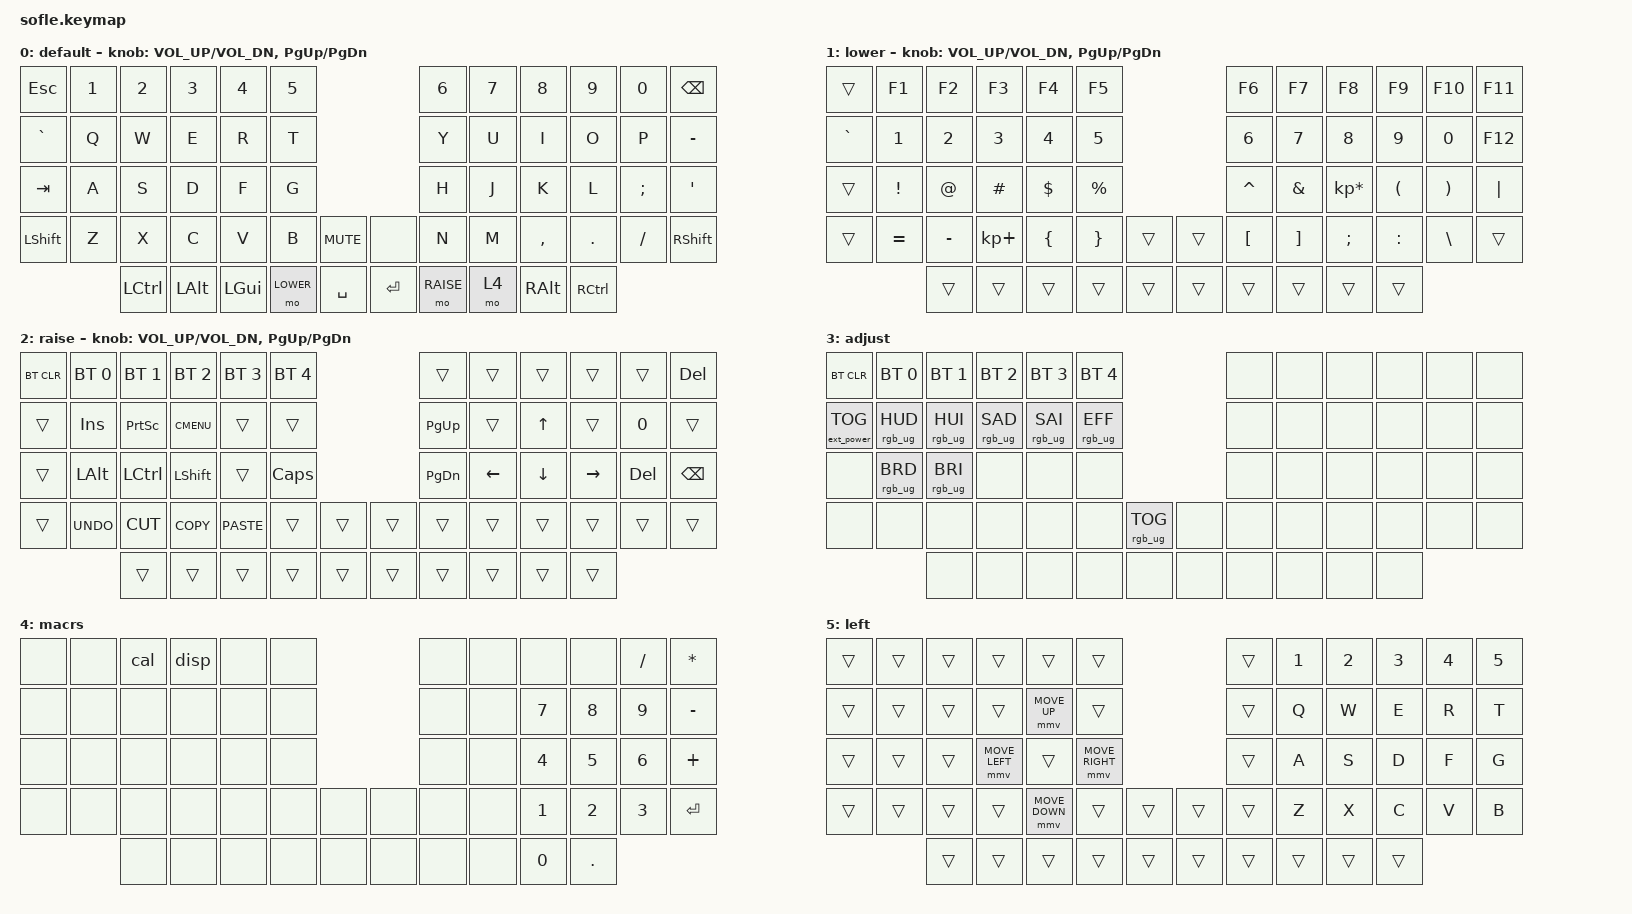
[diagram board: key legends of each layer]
/*
 * Copyright (c) 2020 The ZMK Contributors
 *
 * SPDX-License-Identifier: MIT
 */

#include <behaviors.dtsi>
#include <dt-bindings/zmk/bt.h>
#include <dt-bindings/zmk/ext_power.h>
#include <dt-bindings/zmk/keys.h>
#include <dt-bindings/zmk/pointing.h>
#include <dt-bindings/zmk/pointing.h>
#include <dt-bindings/zmk/rgb.h>

#define BASE 0
#define LOWER 1
#define RAISE 2
#define ADJUST 3

/ {
    // Activate ADJUST layer by pressing raise and lower

    conditional_layers {
        compatible = "zmk,conditional-layers";

        adjust_layer {
            if-layers = <LOWER RAISE>;
            then-layer = <ADJUST>;
        };

        left {
            if-layers = <2 4>;
            then-layer = <5>;
        };
    };

    macros {
        disp: disp {
            compatible = "zmk,behavior-macro";
            #binding-cells = <0>;
            bindings =
                <&macro_press>,
                <&kp RCTRL &kp LEFT_SHIFT &kp ESC>,
                <&macro_release>;

            label = "DISP";
        };

        cal: new_macro {
            compatible = "zmk,behavior-macro";
            #binding-cells = <0>;
            bindings =
                <&macro_press>,
                <&kp LCTRL &kp LEFT_ALT &kp DELETE>,
                <&macro_release>;

            label = "NEW_MACRO";
        };

        sob: sob {
            compatible = "zmk,behavior-macro";
            #binding-cells = <0>;
            bindings = <&kp C &kp V &kp J &kp N &kp H &kp T &kp N &kp M &kp SPACE &kp J &kp Y &kp K &kp F &kp Q &kp Y &kp SPACE &kp COMMA &kp T &kp C &kp G &kp K &kp F &kp N &kp Y &kp J>;
            label = "SOB";
        };
    };

    combos {
        compatible = "zmk,combos";

        play_pause {
            bindings = <&kp C_PLAY_PAUSE>;
            key-positions = <10 11>;
        };

        next {
            bindings = <&kp C_NEXT>;
            key-positions = <22 23>;
        };

        prev {
            bindings = <&kp C_PREV>;
            key-positions = <34 35>;
        };

        minus {
            bindings = <&kp MINUS>;
            key-positions = <8 9>;
        };

        eq {
            bindings = <&kp EQUAL>;
            key-positions = <9 10>;
        };

        bslash {
            bindings = <&kp BSLH>;
            key-positions = <11 23>;
            layers = <0>;
        };

        prob {
            bindings = <&kp SPACE>;
            key-positions = <55 56>;
        };

        paste {
            bindings = <&kp LC(V)>;
            key-positions = <39 40>;
        };

        copy {
            bindings = <&kp LC(C)>;
            key-positions = <39 38>;
        };

        cut {
            bindings = <&kp LC(X)>;
            key-positions = <38 37>;
        };

        up {
            bindings = <&kp UP>;
            key-positions = <19 31>;
        };

        doun {
            bindings = <&kp DOWN>;
            key-positions = <31 45>;
        };

        left {
            bindings = <&kp LEFT>;
            key-positions = <31 30>;
        };

        right {
            bindings = <&kp RIGHT>;
            key-positions = <32 31>;
        };

        sob {
            bindings = <&sob>;
            key-positions = <0 1>;
        };

        close {
            bindings = <&kp LA(F4)>;
            key-positions = <4 16>;
        };

        enter {
            bindings = <&kp ENTER>;
            key-positions = <49 35>;
        };

        lkm {
            bindings = <&mkp LCLK>;
            key-positions = <18 19>;
        };

        rkm {
            bindings = <&mkp RCLK>;
            key-positions = <19 20>;
        };
    };

    keymap {
        compatible = "zmk,keymap";

        default_layer {
            display-name = "default";

            // ------------------------------------------------------------------------------------------------------------

            bindings = <
&kp ESC    &kp N1  &kp N2     &kp N3    &kp N4        &kp N5                            &kp N6     &kp N7  &kp N8         &kp N9     &kp N0    &kp BACKSPACE
&kp GRAVE  &kp Q   &kp W      &kp E     &kp R         &kp T                             &kp Y      &kp U   &kp I          &kp O      &kp P     &kp MINUS
&kp TAB    &kp A   &kp S      &kp D     &kp F         &kp G                             &kp H      &kp J   &kp K          &kp L      &kp SEMI  &kp SQT
&kp LSHFT  &kp Z   &kp X      &kp C     &kp V         &kp B      &kp C_MUTE    &none    &kp N      &kp M   &kp COMMA      &kp DOT    &kp FSLH  &kp RSHFT
                   &kp LCTRL  &kp LALT  &kp LEFT_GUI  &mo LOWER  &kp SPACE     &kp RET  &mo RAISE  &mo 4   &kp RIGHT_ALT  &kp RCTRL
            >;

            sensor-bindings = <&inc_dec_kp C_VOL_UP C_VOL_DN &inc_dec_kp PG_UP PG_DN>;
        };

        lower_layer {
            display-name = "lower";

            // TODO: Some binds are waiting for shifted keycode support.
            // ------------------------------------------------------------------------------------------------------------

            bindings = <
&trans     &kp F1     &kp F2     &kp F3       &kp F4    &kp F5                       &kp F6     &kp F7    &kp F8           &kp F9     &kp F10   &kp F11
&kp GRAVE  &kp N1     &kp N2     &kp N3       &kp N4    &kp N5                       &kp N6     &kp N7    &kp N8           &kp N9     &kp N0    &kp F12
&trans     &kp EXCL   &kp AT     &kp HASH     &kp DLLR  &kp PRCNT                    &kp CARET  &kp AMPS  &kp KP_MULTIPLY  &kp LPAR   &kp RPAR  &kp PIPE
&trans     &kp EQUAL  &kp MINUS  &kp KP_PLUS  &kp LBRC  &kp RBRC   &trans    &trans  &kp LBKT   &kp RBKT  &kp SEMI         &kp COLON  &kp BSLH  &trans
                      &trans     &trans       &trans    &trans     &trans    &trans  &trans     &trans    &trans           &trans
            >;

            sensor-bindings = <&inc_dec_kp C_VOL_UP C_VOL_DN &inc_dec_kp PG_UP PG_DN>;
        };

        raise_layer {
            display-name = "raise";

            // ------------------------------------------------------------------------------------------------------------

            bindings = <
&bt BT_CLR  &bt BT_SEL 0  &bt BT_SEL 1  &bt BT_SEL 2  &bt BT_SEL 3  &bt BT_SEL 4                    &trans     &trans    &trans    &trans     &trans   &kp DEL
&trans      &kp INS       &kp PSCRN     &kp K_CMENU   &trans        &trans                          &kp PG_UP  &trans    &kp UP    &trans     &kp N0   &trans
&trans      &kp LALT      &kp LCTRL     &kp LSHFT     &trans        &kp CLCK                        &kp PG_DN  &kp LEFT  &kp DOWN  &kp RIGHT  &kp DEL  &kp BSPC
&trans      &kp K_UNDO    &kp K_CUT     &kp K_COPY    &kp K_PASTE   &trans        &trans    &trans  &trans     &trans    &trans    &trans     &trans   &trans
                          &trans        &trans        &trans        &trans        &trans    &trans  &trans     &trans    &trans    &trans
            >;

            sensor-bindings = <&inc_dec_kp C_VOL_UP C_VOL_DN &inc_dec_kp PG_UP PG_DN>;
        };

        adjust_layer {
            display-name = "adjust";

            // ----------------------------------------------------------------------------------------------------------------------------

            bindings = <
&bt BT_CLR         &bt BT_SEL 0     &bt BT_SEL 1     &bt BT_SEL 2     &bt BT_SEL 3     &bt BT_SEL 4                               &none  &none  &none  &none  &none  &none
&ext_power EP_TOG  &rgb_ug RGB_HUD  &rgb_ug RGB_HUI  &rgb_ug RGB_SAD  &rgb_ug RGB_SAI  &rgb_ug RGB_EFF                            &none  &none  &none  &none  &none  &none
&none              &rgb_ug RGB_BRD  &rgb_ug RGB_BRI  &none            &none            &none                                      &none  &none  &none  &none  &none  &none
&none              &none            &none            &none            &none            &none            &rgb_ug RGB_TOG    &none  &none  &none  &none  &none  &none  &none
                                    &none            &none            &none            &none            &none              &none  &none  &none  &none  &none
            >;
        };

        macr_layer {
            bindings = <
&none  &none  &cal   &disp  &none  &none                  &none  &none  &none   &none    &kp FSLH  &kp STAR
&none  &none  &none  &none  &none  &none                  &none  &none  &kp N7  &kp N8   &kp N9    &kp MINUS
&none  &none  &none  &none  &none  &none                  &none  &none  &kp N4  &kp N5   &kp N6    &kp PLUS
&none  &none  &none  &none  &none  &none  &none    &none  &none  &none  &kp N1  &kp N2   &kp N3    &kp RET
              &none  &none  &none  &none  &none    &none  &none  &none  &kp N0  &kp DOT
            >;

            label = "macrs";
        };

        left {
            bindings = <
&trans  &trans  &trans  &trans          &trans          &trans                             &trans  &kp N1  &kp N2  &kp N3  &kp N4  &kp N5
&trans  &trans  &trans  &trans          &mmv MOVE_UP    &trans                             &trans  &kp Q   &kp W   &kp E   &kp R   &kp T
&trans  &trans  &trans  &mmv MOVE_LEFT  &trans          &mmv MOVE_RIGHT                    &trans  &kp A   &kp S   &kp D   &kp F   &kp G
&trans  &trans  &trans  &trans          &mmv MOVE_DOWN  &trans           &trans    &trans  &trans  &kp Z   &kp X   &kp C   &kp V   &kp B
                &trans  &trans          &trans          &trans           &trans    &trans  &trans  &trans  &trans  &trans
            >;
        };
    };
};
